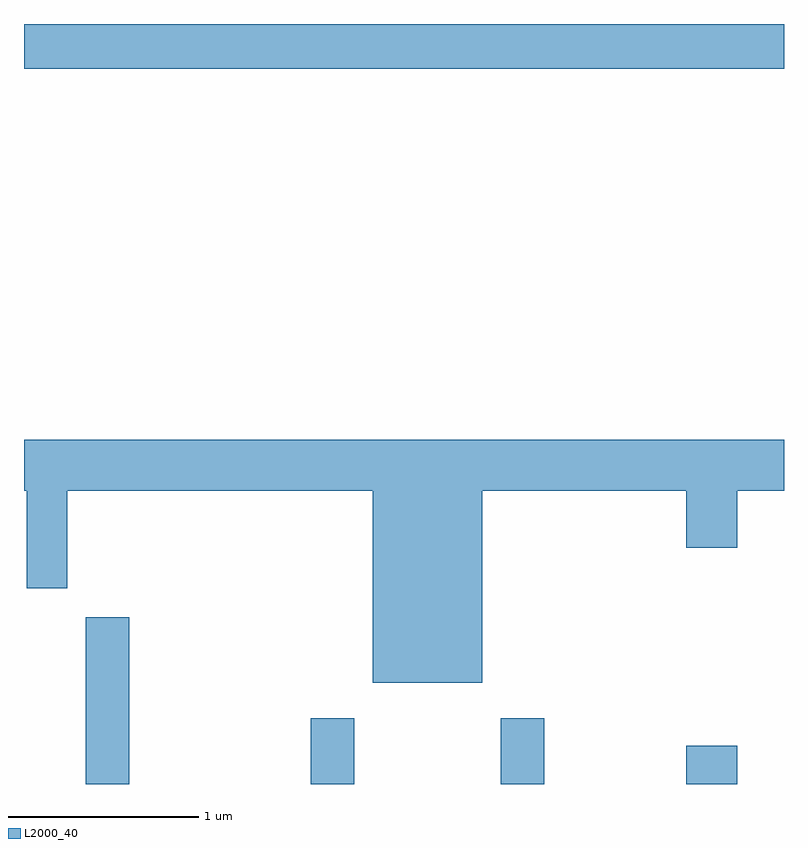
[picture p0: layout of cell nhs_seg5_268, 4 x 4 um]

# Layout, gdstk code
import gdstk
lib = gdstk.Library(unit=1e-6, precision=1e-09)
def R(c, l, rs):  # rectangles x0, y0, x1, y1
    for r in rs: c.add(gdstk.rectangle(r[:2], r[2:], *l))
def P(c, l, *ps):  # polygons
    for p in ps: c.add(gdstk.Polygon(p, *l))
L2000_40 = (2000, 40)

nhs_seg5_268 = lib.new_cell('nhs_seg5_268')
R(nhs_seg5_268, L2000_40, [(191.936,1524.072,192.164,1524.949), (193.121,1524.072,193.349,1524.419), (194.121,1524.072,194.349,1524.419), (195.096,1524.072,195.364,1524.274), (191.611,1527.836,195.611,1528.072)])
P(nhs_seg5_268, L2000_40, [(194.024,1525.616),(195.096,1525.616),(195.096,1525.316),(195.364,1525.316),(195.364,1525.616),(195.611,1525.616),(195.611,1525.884),(191.611,1525.884),(191.611,1525.616),(191.626,1525.616),(191.626,1525.101),(191.839,1525.101),(191.839,1525.616),(193.446,1525.616),(193.446,1524.606),(194.024,1524.606)])

lib.write_gds('nhs_seg5_268.gds')
